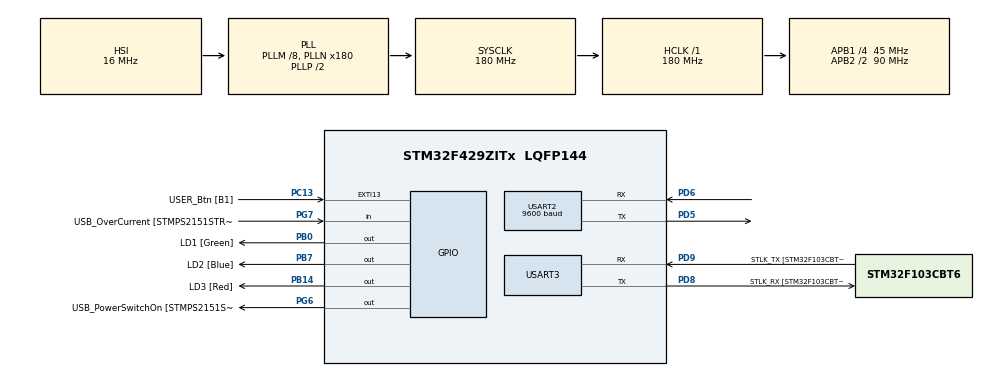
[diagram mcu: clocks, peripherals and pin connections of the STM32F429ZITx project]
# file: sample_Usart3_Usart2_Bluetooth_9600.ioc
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Mcu.Family=STM32F4
Mcu.Name=STM32F429ZITx
Mcu.Package=LQFP144
NVIC.PriorityGroup=NVIC_PRIORITYGROUP_4
NVIC.USART2_IRQn=true\:0\:0\:false\:false\:true\:true\:true\:true
NVIC.USART3_IRQn=true\:0\:0\:false\:false\:true\:true\:true\:true
PA1.GPIO_Label=RMII_REF_CLK [LAN8742A-CZ-TR_REFCLK0]
PA1.Signal=ETH_REF_CLK
PA10.GPIO_Label=USB_ID
PA10.Signal=USB_OTG_FS_ID
PA11.GPIO_Label=USB_DM
PA11.Signal=USB_OTG_FS_DM
PA12.GPIO_Label=USB_DP
PA12.Signal=USB_OTG_FS_DP
PA13.GPIO_Label=TMS
PA13.Mode=Serial_Wire
PA13.Signal=SYS_JTMS-SWDIO
PA14.GPIO_Label=TCK
PA14.Mode=Serial_Wire
PA14.Signal=SYS_JTCK-SWCLK
PA2.GPIO_Label=RMII_MDIO [LAN8742A-CZ-TR_MDIO]
PA2.Signal=ETH_MDIO
PA7.GPIO_Label=RMII_CRS_DV [LAN8742A-CZ-TR_CRS_DV]
PA7.Signal=ETH_CRS_DV
PA8.GPIO_Label=USB_SOF [TP1]
PA8.Signal=USB_OTG_FS_SOF
PA9.GPIO_Label=USB_VBUS
PA9.Signal=USB_OTG_FS_VBUS
PB0.GPIO_Label=LD1 [Green]
PB0.Signal=GPIO_Output
PB13.GPIO_Label=RMII_TXD1 [LAN8742A-CZ-TR_TXD1]
PB13.Signal=ETH_TXD1
PB14.GPIO_Label=LD3 [Red]
PB14.Signal=GPIO_Output
PB7.GPIO_Label=LD2 [Blue]
PB7.Signal=GPIO_Output
PC1.GPIO_Label=RMII_MDC [LAN8742A-CZ-TR_MDC]
PC1.Signal=ETH_MDC
PC13.GPIO_Label=USER_Btn [B1]
PC13.Signal=GPXTI13
PC14/OSC32_IN.Mode=LSE-External-Oscillator
PC14/OSC32_IN.Signal=RCC_OSC32_IN
PC15/OSC32_OUT.Mode=LSE-External-Oscillator
PC15/OSC32_OUT.Signal=RCC_OSC32_OUT
PC4.GPIO_Label=RMII_RXD0 [LAN8742A-CZ-TR_RXD0]
PC4.Signal=ETH_RXD0
PC5.GPIO_Label=RMII_RXD1 [LAN8742A-CZ-TR_RXD1]
PC5.Signal=ETH_RXD1
PD5.Mode=Asynchronous
PD5.Signal=USART2_TX
PD6.Mode=Asynchronous
PD6.Signal=USART2_RX
PD8.GPIO_Label=STLK_RX [STM32F103CBT6_PA3]
PD8.Mode=Asynchronous
PD8.Signal=USART3_TX
PD9.GPIO_Label=STLK_TX [STM32F103CBT6_PA2]
PD9.Mode=Asynchronous
PD9.Signal=USART3_RX
PG11.GPIO_Label=RMII_TX_EN [LAN8742A-CZ-TR_TXEN]
PG11.Signal=ETH_TX_EN
PG13.GPIO_Label=RMII_TXD0 [LAN8742A-CZ-TR_TXD0]
PG13.Signal=ETH_TXD0
PG6.GPIO_Label=USB_PowerSwitchOn [STMPS2151STR_EN]
PG6.Signal=GPIO_Output
PG7.GPIO_Label=USB_OverCurrent [STMPS2151STR_FAULT]
PG7.Signal=GPIO_Input
PH0/OSC_IN.GPIO_Label=MCO [STM32F103CBT6_PA8]
PH0/OSC_IN.Signal=RCC_OSC_IN
ProjectManager.HeapSize=0x200
ProjectManager.StackSize=0x400
ProjectManager.TargetToolchain=STM32CubeIDE
RCC.48MHZClocksFreq_Value=51428571.428571425
RCC.AHBFreq_Value=180000000
RCC.APB1CLKDivider=RCC_HCLK_DIV4
RCC.APB1Freq_Value=45000000
RCC.APB1TimFreq_Value=90000000
RCC.APB2CLKDivider=RCC_HCLK_DIV2
RCC.APB2Freq_Value=90000000
RCC.APB2TimCLKDivider=2
RCC.APB2TimFreq_Value=180000000
RCC.CortexFreq_Value=180000000
RCC.HCLKFreq_Value=180000000
RCC.HSE_VALUE=8000000
RCC.HSI_VALUE=16000000
RCC.PLLM=8
RCC.PLLMUL=RCC_PLL_MUL9
RCC.PLLN=180
RCC.PLLQ=7
RCC.PRESCALERUSB=RCC_USBCLKSOURCE_PLL_DIV1_5
RCC.RCC_RTC_Clock_Source=RCC_RTCCLKSOURCE_LSE
RCC.RCC_RTC_Clock_SourceVirtual=RCC_RTCCLKSOURCE_LSE
RCC.SYSCLKFreq_VALUE=180000000
RCC.SYSCLKSource=RCC_SYSCLKSOURCE_PLLCLK
RCC.SYSCLKSourceVirtual=RCC_SYSCLKSOURCE_PLLCLK
RCC.USBFreq_Value=48000000
RCC.VCOOutputFreq_Value=360000000
USART2.BaudRate=9600
USART2.VirtualMode=VM_ASYNC
USART3.VirtualMode=VM_ASYNC
VP_RTC_VS_RTC_Activate.Mode=RTC_Enabled
board=NUCLEO-F429ZI

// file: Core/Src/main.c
/* USER CODE BEGIN Header */
/**
  ******************************************************************************
  * @file           : main.c
  * @brief          : Main program body
  ******************************************************************************
  * @attention
  *
  * Copyright (c) 2023 STMicroelectronics.
  * All rights reserved.
  *
  * This software is licensed under terms that can be found in the LICENSE file
  * in the root directory of this software component.
  * If no LICENSE file comes with this software, it is provided AS-IS.
  *
  ******************************************************************************
  */
/* USER CODE END Header */
#include "main.h"
#include "rtc.h"
#include "usart.h"
#include "gpio.h"

/* USER CODE BEGIN Includes */
#include "stdio.h"
#include "string.h"
#include "stdlib.h"
/* USER CODE END Includes */

/* USER CODE BEGIN PV */
uint8_t rx3ch;
char rx3Data[50];
unsigned char rx3Flag=0;

uint8_t rx2ch;
char rx2Data[50];
unsigned char rx2Flag=0;

char sendBuf[50];

/* USER CODE END PV */

void SystemClock_Config(void);
/* USER CODE BEGIN PFP */
#ifdef __GNUC__
/* With GCC, small printf (option LD Linker->Libraries->Small printf
   set to 'Yes') calls __io_putchar() */
#define PUTCHAR_PROTOTYPE int __io_putchar(int ch)
#else
#define PUTCHAR_PROTOTYPE int fputc(int ch, FILE *f)
#endif /* __GNUC__ */

/* USER CODE END PFP */

/* USER CODE BEGIN 0 */
void Serial3_Send(unsigned char c)
{
	HAL_UART_Transmit(&huart3, &c, 1, 10);
}

void Serial3_Send_String(char* s)
{
	while(*s != '\0')
	{
		Serial3_Send((unsigned char)*s);
		s++;
	}
}

void Serial2_Send(unsigned char c)
{
	HAL_UART_Transmit(&huart2, &c, 1, 10);
}

void Serial2_Send_String(char* s)
{
	while(*s != '\0')
	{
		Serial2_Send((unsigned char)*s);
		s++;
	}
}
void HAL_UART_RxCpltCallback(UART_HandleTypeDef *huart)
{
	if(huart->Instance == USART3)
		{
			static int i=0;
			//printf("%d\r\n",rx3ch);
			//printf("%c\r\n",rx3ch);
			//printf("\r\n");
			rx3Data[i]=rx3ch;
			if(rx3Data[i]=='\r')
			{
				rx3Data[i]='\0';
				rx3Flag=1;
				i=0;
			}
			else
			{
				i++;
			}
			HAL_UART_Receive_IT(&huart3, &rx3ch, 1);
		}
	else if(huart->Instance == USART2)
	{
		static int i=0;
		//printf("%d\r\n",rx3ch);
		//printf("%c\r\n",rx2ch);
		//printf("\r\n");
		rx2Data[i]=rx2ch;
		if(rx2Data[i]=='\r')
		{
			rx2Data[i]='\0';
			rx2Flag=1;
			i=0;
		}
		else
		{
			i++;
		}
		HAL_UART_Receive_IT(&huart2, &rx2ch, 1);

	}
}
/* USER CODE END 0 */

int main(void)
{

  /* MCU Configuration--------------------------------------------------------*/

  /* Reset of all peripherals, Initializes the Flash interface and the Systick. */
  HAL_Init();

  /* Configure the system clock */
  SystemClock_Config();

  /* Initialize all configured peripherals */
  MX_GPIO_Init();
  MX_USART3_UART_Init();
  MX_RTC_Init();
  MX_USART2_UART_Init();
  /* USER CODE BEGIN 2 */

  sprintf(sendBuf, "Start main()\r\n");
  Serial3_Send_String(sendBuf);
  Serial2_Send_String(sendBuf);
  HAL_UART_Receive_IT(&huart3, &rx3ch, 1);
  HAL_UART_Receive_IT(&huart2, &rx2ch, 1);
  /* USER CODE END 2 */

  /* Infinite loop */
  /* USER CODE BEGIN WHILE */
  while (1)
  {
	  if(rx3Flag)
	  {
		  char sendTemp[50]={0, };
		  sprintf(sendTemp, "rx3Data : %s\r\n", rx3Data);
  		  Serial3_Send_String(sendTemp);
		  rx3Flag=0;
		  strncpy(rx3Data, "", 50);
	  }
	  if(rx2Flag)
	  	  {
		  	  char sendTemp[50]={0, };
	  		  sprintf(sendTemp, "rx2Data : %s\r\n", rx2Data);
	  		  Serial3_Send_String(sendTemp);
	  		  Serial2_Send_String(sendTemp);
	  		  rx2Flag=0;
	  		  strncpy(rx2Data, "", 50);
	  }
    /* USER CODE END WHILE */

  }
}

void SystemClock_Config(void)
{
  RCC_OscInitTypeDef RCC_OscInitStruct = {0};
  RCC_ClkInitTypeDef RCC_ClkInitStruct = {0};

  /** Configure the main internal regulator output voltage
  */
  __HAL_RCC_PWR_CLK_ENABLE();
  __HAL_PWR_VOLTAGESCALING_CONFIG(PWR_REGULATOR_VOLTAGE_SCALE1);

  /** Initializes the RCC Oscillators according to the specified parameters
  * in the RCC_OscInitTypeDef structure.
  */
  RCC_OscInitStruct.OscillatorType = RCC_OSCILLATORTYPE_HSI|RCC_OSCILLATORTYPE_LSE;
  RCC_OscInitStruct.LSEState = RCC_LSE_ON;
  RCC_OscInitStruct.HSIState = RCC_HSI_ON;
  RCC_OscInitStruct.HSICalibrationValue = RCC_HSICALIBRATION_DEFAULT;
  RCC_OscInitStruct.PLL.PLLState = RCC_PLL_ON;
  RCC_OscInitStruct.PLL.PLLSource = RCC_PLLSOURCE_HSI;
  RCC_OscInitStruct.PLL.PLLM = 8;
  RCC_OscInitStruct.PLL.PLLN = 180;
  RCC_OscInitStruct.PLL.PLLP = RCC_PLLP_DIV2;
  RCC_OscInitStruct.PLL.PLLQ = 7;
  if (HAL_RCC_OscConfig(&RCC_OscInitStruct) != HAL_OK)
  {
    Error_Handler();
  }

  /** Activate the Over-Drive mode
  */
  if (HAL_PWREx_EnableOverDrive() != HAL_OK)
  {
    Error_Handler();
  }

  /** Initializes the CPU, AHB and APB buses clocks
  */
  RCC_ClkInitStruct.ClockType = RCC_CLOCKTYPE_HCLK|RCC_CLOCKTYPE_SYSCLK
                              |RCC_CLOCKTYPE_PCLK1|RCC_CLOCKTYPE_PCLK2;
  RCC_ClkInitStruct.SYSCLKSource = RCC_SYSCLKSOURCE_PLLCLK;
  RCC_ClkInitStruct.AHBCLKDivider = RCC_SYSCLK_DIV1;
  RCC_ClkInitStruct.APB1CLKDivider = RCC_HCLK_DIV4;
  RCC_ClkInitStruct.APB2CLKDivider = RCC_HCLK_DIV2;

  if (HAL_RCC_ClockConfig(&RCC_ClkInitStruct, FLASH_LATENCY_5) != HAL_OK)
  {
    Error_Handler();
  }
}

/* USER CODE BEGIN 4 */
PUTCHAR_PROTOTYPE
{
  /* Place your implementation of fputc here */
  /* e.g. write a character to the USART3 and Loop until the end of transmission */
  HAL_UART_Transmit(&huart3, (uint8_t *)&ch, 1, 0xFFFF);

  return ch;
}
/* USER CODE END 4 */

void Error_Handler(void)
{
  __disable_irq();
  while (1)
  {
  }
}
